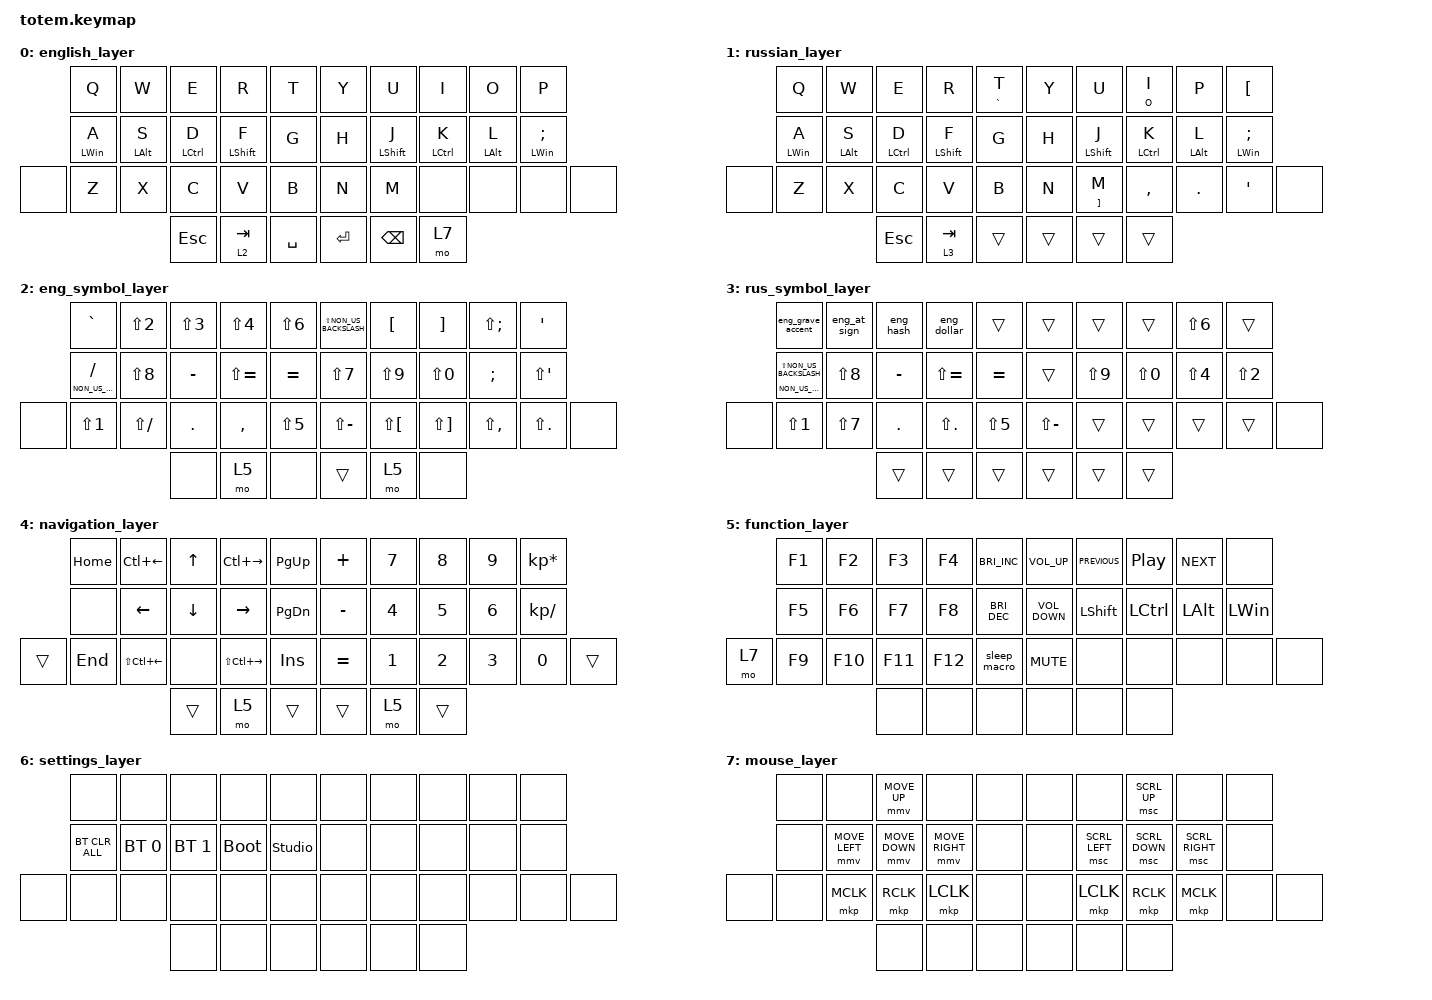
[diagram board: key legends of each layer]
#include <dt-bindings/zmk/mouse.h>
#include <behaviors.dtsi>
#include <dt-bindings/zmk/bt.h>
#include <dt-bindings/zmk/keys.h>
#include <dt-bindings/zmk/pointing.h>

#define DEF 0
#define LWR 1
#define RSE 2
#define ADJ 3

/ {
    behaviors {
        ht: ht {
            compatible = "zmk,behavior-hold-tap";
            label = "HT";
            bindings = <&kp>, <&kp>;

            #binding-cells = <2>;
            tapping-term-ms = <300>;
            quick-tap-ms = <300>;
            require-prior-idle-ms = <100>;
            flavor = "tap-preferred";
        };
    };

    macros {
        sleep_macro: sleep_macro {
            compatible = "zmk,behavior-macro";
            #binding-cells = <0>;
            bindings = <&kp LG(D) &kp LA(F4) &kp UP_ARROW &kp ENTER>;
            label = "SLEEP_MACRO";
            wait-ms = <300>;
        };

        switch_language: switch_language {
            compatible = "zmk,behavior-macro";
            #binding-cells = <0>;
            bindings = <&kp LS(LCTRL)>;
            label = "SWITCH_LANGUAGE";
        };

        switch_rus: switch_rus {
            compatible = "zmk,behavior-macro";
            #binding-cells = <0>;
            bindings = <&switch_language &to 1>;
            label = "SWITCH_RUS";
        };

        switch_eng: switch_eng {
            compatible = "zmk,behavior-macro";
            #binding-cells = <0>;
            bindings = <&switch_language &to 0>;
            label = "SWITCH_ENG";
        };

        eng_grave_accent: eng_grave_accent {
            compatible = "zmk,behavior-macro";
            #binding-cells = <0>;
            bindings = <&switch_language &kp GRAVE &switch_language>;
            label = "ENG_GRAVE_ACCENT";
        };

        eng_at_sign: eng_at_sign {
            compatible = "zmk,behavior-macro";
            #binding-cells = <0>;
            bindings = <&switch_language &kp LS(NUMBER_2) &switch_language>;
            label = "ENG_AT_SIGN";
        };

        eng_hash: eng_hash {
            compatible = "zmk,behavior-macro";
            #binding-cells = <0>;
            bindings = <&switch_language &kp LS(NUMBER_3) &switch_language>;
            label = "ENG_HASH";
        };

        eng_dollar: eng_dollar {
            compatible = "zmk,behavior-macro";
            #binding-cells = <0>;
            bindings =
                <&switch_language &kp LS(NUMBER_4) &switch_language>,
                <&macro_wait_time 100>;

            label = "ENG_DOLLAR";
        };
    };

    combos {
        compatible = "zmk,combos";

        combo_switch_rus {
            bindings = <&switch_rus>;
            key-positions = <16 12 13 17>;
            layers = <0>;
        };

        combo_switch_eng {
            bindings = <&switch_eng>;
            key-positions = <12 13 16 17>;
            layers = <1>;
        };
    };

    keymap {
        compatible = "zmk,keymap";

        english_layer {
            // -----------------------------------------------------------------------------------------
            // |  GUI |   ~  |  Q  |  W  |  E  |  R  |  T  |   |  Y  |  U   |  I  |  O  |  P  |  [   | GUI/] |
            //        | CTRL |  A  |  S  |  D  |  F  |  G  |   |  H  |  J   |  K  |  L  |  ;  |CTRL/'|
            //        | LALT |  Z  |  X  |  C  |  V  |  B  |   |  N  |  M   |  ,  |  .  |  /  | RALT |
            //                           | RSE | SPC | LWR |   | LWR | BSPC | RSE |

            bindings = <
       &kp Q           &kp W           &kp E        &kp R             &kp T        &kp Y      &kp U             &kp I        &kp O           &kp P
       &ht LEFT_WIN A  &ht LEFT_ALT S  &ht LCTRL D  &ht LEFT_SHIFT F  &kp G        &kp H      &ht LEFT_SHIFT J  &ht LCTRL K  &ht LEFT_ALT L  &ht LEFT_WIN SEMICOLON
&none  &kp Z           &kp X           &kp C        &kp V             &kp B        &kp N      &kp M             &none        &none           &none                   &none
                                       &kp ESCAPE   &lt 2 TAB         &kp SPACE    &kp ENTER  &kp BACKSPACE     &mo 7
            >;
        };

        russian_layer {
            bindings = <
       &kp Q           &kp W           &kp E        &kp R             &ht GRAVE T    &kp Y   &kp U                &ht O I      &kp P           &kp LEFT_BRACKET
       &ht LEFT_WIN A  &ht LEFT_ALT S  &ht LCTRL D  &ht LEFT_SHIFT F  &kp G          &kp H   &ht LEFT_SHIFT J     &ht LCTRL K  &ht LEFT_ALT L  &ht LEFT_WIN SEMICOLON
&none  &kp Z           &kp X           &kp C        &kp V             &kp B          &kp N   &ht RIGHT_BRACKET M  &kp COMMA    &kp PERIOD      &kp SQT                 &none
                                       &kp ESCAPE   &lt 3 TAB         &trans         &trans  &trans               &trans
            >;
        };

        eng_symbol_layer {
            // -----------------------------------------------------------------------------------------
            // |     | NMLK |  /  |  7  |  8  |  9  |  -  |   | VOLU| HOME| PRSC| PGUP| SCLK| CLCK|     |
            //       | CTRL |  *  |  4  |  5  |  6  |  +  |   | MUT | LEFT|  UP | RGHT| INS | APP |
            //       |      |  0  |  1  |  2  |  3  |  .  |   | VOLD| END | DOWN| PGDN| PAUS|     |
            //                          |     |     | ADJ |   | ADJ |     |     |

            bindings = <
       &kp GRAVE                   &kp LS(NUMBER_2)  &kp LS(NUMBER_3)  &kp LS(NUMBER_4)  &kp LS(NUMBER_6)    &kp LS(NON_US_BACKSLASH)  &kp LEFT_BRACKET      &kp RIGHT_BRACKET      &kp LS(SEMICOLON)  &kp SQT
       &ht NON_US_BACKSLASH SLASH  &kp LS(NUMBER_8)  &kp MINUS         &kp LS(EQUAL)     &kp EQUAL           &kp LS(NUMBER_7)          &kp LS(N9)            &kp LS(NUMBER_0)       &kp SEMICOLON      &kp LS(SQT)
&none  &kp LS(NUMBER_1)            &kp LS(SLASH)     &kp PERIOD        &kp COMMA         &kp LS(N5)          &kp LS(MINUS)             &kp LS(LEFT_BRACKET)  &kp LS(RIGHT_BRACKET)  &kp LS(COMMA)      &kp LS(PERIOD)  &none
                                                     &none             &mo 5             &none               &trans                    &mo 5                 &none
            >;
        };

        rus_symbol_layer {
            bindings = <
       &eng_grave_accent                          &eng_at_sign  &eng_hash   &eng_dollar     &trans              &trans         &trans      &trans      &kp LS(NUMBER_6)  &trans
       &ht NON_US_BACKSLASH LS(NON_US_BACKSLASH)  &kp LS(N8)    &kp MINUS   &kp LS(EQUAL)   &kp EQUAL           &trans         &kp LS(N9)  &kp LS(N0)  &kp LS(NUMBER_4)  &kp LS(NUMBER_2)
&none  &kp LS(NUMBER_1)                           &kp LS(N7)    &kp PERIOD  &kp LS(PERIOD)  &kp LS(NUMBER_5)    &kp LS(MINUS)  &trans      &trans      &trans            &trans            &none
                                                                &trans      &trans          &trans              &trans         &trans      &trans
            >;
        };

        navigation_layer {
            // -----------------------------------------------------------------------------------------
            // |     |  _  |  F1 |  F2 |  F3 |  F4 |  F5 |   |  F6 |  F7 |  F8 |  F9 | F10 | F11 | F12 |
            //       |  +  |  !  |  @  |  #  |  $  |  %  |   |  ^  |  &  |  *  |  (  |  )  |  -  |
            //       |  =  |  1  |  2  |  3  |  4  |  5  |   |  6  |  7  |  8  |  9  |  0  |     |
            //                    | GUI |     | SPC |   | ENT |     | ALT |

            bindings = <
        &kp HOME  &kp LC(LEFT)      &kp UP_ARROW    &kp LC(RIGHT)      &kp PAGE_UP      &kp PLUS   &kp NUMBER_7  &kp NUMBER_8  &kp NUMBER_9  &kp KP_MULTIPLY
        &none     &kp LEFT_ARROW    &kp DOWN_ARROW  &kp RIGHT_ARROW    &kp PAGE_DOWN    &kp MINUS  &kp NUMBER_4  &kp N5        &kp NUMBER_6  &kp KP_DIVIDE
&trans  &kp END   &kp LS(LC(LEFT))  &none           &kp LS(LC(RIGHT))  &kp INSERT       &kp EQUAL  &kp NUMBER_1  &kp NUMBER_2  &kp NUMBER_3  &kp NUMBER_0     &trans
                                    &trans          &mo 5              &trans           &trans     &mo 5         &trans
            >;
        };

        function_layer {
            // -----------------------------------------------------------------------------------------
            // | RST | BLDR |     |     |     |     |     |   |     |     |     |     |     | BLDR | RST |
            //       | BTCLR| BT0 | BT1 | BT2 | BT3 | BT4 |   | BT4 | BT3 | BT2 | BT1 | BT0 | BTCLR|
            //       |      |     |     |     |     |     |   |     |     |     |     |     |      |
            //                          |     |     |     |   |     |     |     |

            bindings = <
       &kp F1  &kp F2   &kp F3   &kp F4   &kp C_BRIGHTNESS_INC    &kp C_VOLUME_UP    &kp C_PREVIOUS  &kp C_PLAY_PAUSE  &kp C_NEXT    &none
       &kp F5  &kp F6   &kp F7   &kp F8   &kp C_BRIGHTNESS_DEC    &kp C_VOLUME_DOWN  &kp LEFT_SHIFT  &kp LCTRL         &kp LEFT_ALT  &kp LEFT_WIN
&mo 7  &kp F9  &kp F10  &kp F11  &kp F12  &sleep_macro            &kp C_MUTE         &none           &none             &none         &none         &none
                        &none    &none    &none                   &none              &none           &none
            >;
        };

        settings_layer {
            bindings = <
       &none           &none         &none         &none        &none             &none  &none  &none  &none  &none
       &bt BT_CLR_ALL  &bt BT_SEL 0  &bt BT_SEL 1  &bootloader  &studio_unlock    &none  &none  &none  &none  &none
&none  &none           &none         &none         &none        &none             &none  &none  &none  &none  &none  &none
                                     &none         &none        &none             &none  &none  &none
            >;
        };

        mouse_layer {
            bindings = <
       &none  &none           &mmv MOVE_UP    &none            &none    &none  &none           &msc SCRL_UP    &none            &none
       &none  &mmv MOVE_LEFT  &mmv MOVE_DOWN  &mmv MOVE_RIGHT  &none    &none  &msc SCRL_LEFT  &msc SCRL_DOWN  &msc SCRL_RIGHT  &none
&none  &none  &mkp MCLK       &mkp RCLK       &mkp LCLK        &none    &none  &mkp LCLK       &mkp RCLK       &mkp MCLK        &none  &none
                              &none           &none            &none    &none  &none           &none
            >;
        };
    };
};

&mmv {
    time-to-max-speed-ms = <300>;
    acceleration-exponent = <5>;
};
